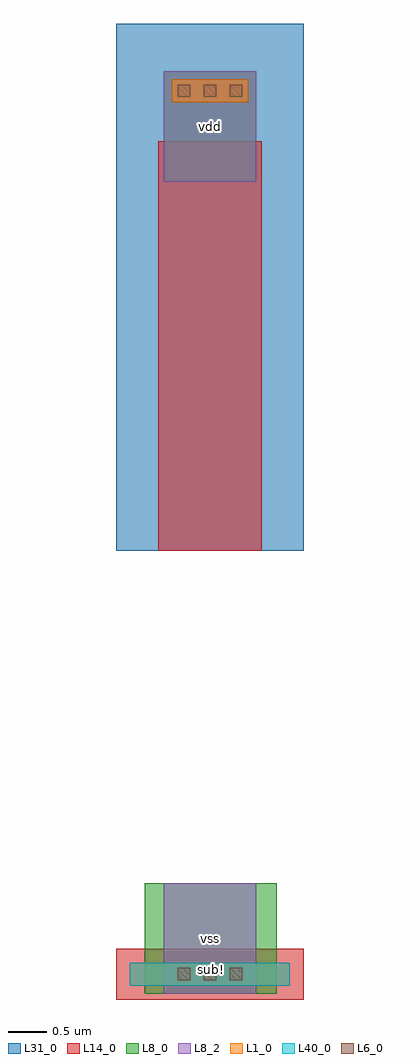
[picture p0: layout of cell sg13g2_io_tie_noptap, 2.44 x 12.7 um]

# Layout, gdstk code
import gdstk
lib = gdstk.Library(unit=1e-6, precision=1e-09)
def R(c, l, rs):  # rectangles x0, y0, x1, y1
    for r in rs: c.add(gdstk.rectangle(r[:2], r[2:], *l))
def A(c, l, x, y, w, h, nx, ny, dx, dy):  # array of equal rectangles
    R(c, l, [(x+i*dx, y+j*dy, x+i*dx+w, y+j*dy+h) for i in range(nx) for j in range(ny)])
L1_0 = (1, 0)
L6_0 = (6, 0)
L8_0 = (8, 0)
L8_2 = (8, 2)
L14_0 = (14, 0)
L31_0 = (31, 0)
L40_0 = (40, 0)

sg13g2_io_tie_noptap = lib.new_cell('sg13g2_io_tie_noptap')
R(sg13g2_io_tie_noptap, L1_0, [(-0.445,0.105,1.64,0.405), (0.105,11.595,1.095,11.895), (0.11,11.595,1.09,11.895)])
A(sg13g2_io_tie_noptap, L6_0, 0.18, 0.175, 0.16, 0.16, 3, 2, 0.34, 11.49)
R(sg13g2_io_tie_noptap, L8_0, [(-0.25,0,1.47,1.44), (0,10.56,1.2,12)])
R(sg13g2_io_tie_noptap, L8_2, [(0,0,1.2,1.44), (0,10.56,1.2,12)])
R(sg13g2_io_tie_noptap, L14_0, [(-0.62,-0.075,1.82,0.585), (-0.075,5.76,1.275,11.09)])
R(sg13g2_io_tie_noptap, L31_0, [(-0.62,5.76,1.82,12.62)])
R(sg13g2_io_tie_noptap, L40_0, [(-0.445,0.105,1.64,0.405)])
sg13g2_io_tie_noptap.add(gdstk.Label('sub!', (0.62,0.32), layer=63, texttype=0))
sg13g2_io_tie_noptap.add(gdstk.Label('vss', (0.6,0.72), layer=8, texttype=25))
sg13g2_io_tie_noptap.add(gdstk.Label('vdd', (0.6,11.28), layer=8, texttype=25))

lib.write_gds('sg13g2_io_tie_noptap.gds')
